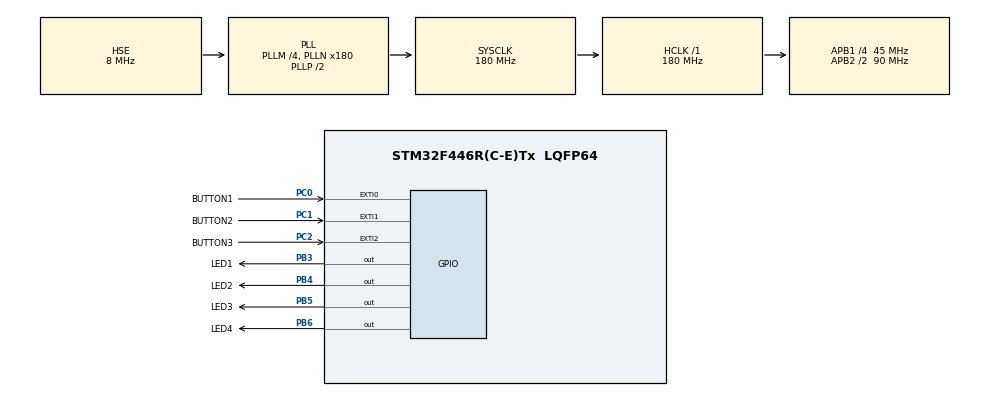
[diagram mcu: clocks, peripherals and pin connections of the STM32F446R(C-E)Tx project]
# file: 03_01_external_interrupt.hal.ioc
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Mcu.Family=STM32F4
RCC.PLLSourceVirtual=RCC_PLLSOURCE_HSE
PH0-OSC_IN.Signal=RCC_OSC_IN
RCC.CortexFreq_Value=180000000
PC2.Signal=GPXTI2
PC0.GPIO_Label=BUTTON1
PB6.GPIO_Label=LED4
PC0.Signal=GPXTI0
RCC.APB1CLKDivider=RCC_HCLK_DIV4
PB3.GPIO_Speed=GPIO_SPEED_FREQ_VERY_HIGH
RCC.SYSCLKSource=RCC_SYSCLKSOURCE_PLLCLK
ProjectManager.StackSize=0x400
PA13.Signal=SYS_JTMS-SWDIO
NVIC.EXTI1_IRQn=true\:0\:0\:false\:false\:true\:true\:true
ProjectManager.TargetToolchain=STM32CubeIDE
RCC.HCLKFreq_Value=180000000
RCC.APB2TimFreq_Value=180000000
PB6.Signal=GPIO_Output
RCC.USBFreq_Value=180000000
RCC.AHBFreq_Value=180000000
PH0-OSC_IN.Mode=HSE-External-Oscillator
RCC.HSE_VALUE=8000000
board=custom
PC1.GPIO_PuPd=GPIO_PULLDOWN
RCC.VCOOutputFreq_Value=360000000
PB4.GPIO_Speed=GPIO_SPEED_FREQ_VERY_HIGH
RCC.APB2Freq_Value=90000000
PB4.GPIO_Label=LED2
PA14.Mode=Serial_Wire
PC1.GPIO_Label=BUTTON2
PH1-OSC_OUT.Signal=RCC_OSC_OUT
PC2.GPIO_PuPd=GPIO_PULLDOWN
PA13.Mode=Serial_Wire
Mcu.Name=STM32F446R(C-E)Tx
PH1-OSC_OUT.Mode=HSE-External-Oscillator
PB3.Signal=GPIO_Output
NVIC.EXTI0_IRQn=true\:0\:0\:false\:false\:true\:true\:true
RCC.SYSCLKFreq_VALUE=180000000
Mcu.Package=LQFP64
PB5.Signal=GPIO_Output
PA14.Signal=SYS_JTCK-SWCLK
ProjectManager.HeapSize=0x200
PB5.GPIO_Speed=GPIO_SPEED_FREQ_VERY_HIGH
NVIC.PriorityGroup=NVIC_PRIORITYGROUP_4
RCC.APB2CLKDivider=RCC_HCLK_DIV2
PB5.GPIO_Label=LED3
NVIC.EXTI2_IRQn=true\:0\:0\:false\:false\:true\:true\:true
RCC.PLLM=4
RCC.PLLN=180
RCC.APB1TimFreq_Value=90000000
PC0.GPIO_PuPd=GPIO_PULLDOWN
PB6.GPIO_Speed=GPIO_SPEED_FREQ_VERY_HIGH
RCC.APB1Freq_Value=45000000
PC2.GPIO_Label=BUTTON3
PC1.Signal=GPXTI1
PB4.Signal=GPIO_Output
PB3.GPIO_Label=LED1

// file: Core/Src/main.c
/* USER CODE BEGIN Header */
/**
  ******************************************************************************
  * @file           : main.c
  * @brief          : Main program body
  ******************************************************************************
  * @attention
  *
  * <h2><center>&copy; Copyright (c) 2021 STMicroelectronics.
  * All rights reserved.</center></h2>
  *
  * This software component is licensed by ST under BSD 3-Clause license,
  * the "License"; You may not use this file except in compliance with the
  * License. You may obtain a copy of the License at:
  *                        opensource.org/licenses/BSD-3-Clause
  *
  ******************************************************************************
  */
/* USER CODE END Header */
#include "main.h"

/* USER CODE BEGIN Includes */
int count=0 , i=0;
/* USER CODE END Includes */

void SystemClock_Config(void);
static void MX_GPIO_Init(void);

/* USER CODE BEGIN 0 */
void HAL_GPIO_EXTI_Callback(uint16_t GPIO_Pin)
{
	i++;
	if(HAL_GPIO_ReadPin(GPIOC, BUTTON1_Pin))
	{
		if(i==1)
		{
			count=1000;
		}
		else if(i==2)
		{
			count=750;
		}
		else if(i==3)
		{
			count=500;
		}
		else
		{
			count=250;
			i=0;
		}
	}
	else if(HAL_GPIO_ReadPin(GPIOC, BUTTON2_Pin))
	{
		count=100;
	}
	else
	{
		count=50;
	}
}
/* USER CODE END 0 */

int main(void)
{

  /* MCU Configuration--------------------------------------------------------*/

  /* Reset of all peripherals, Initializes the Flash interface and the Systick. */
  HAL_Init();

  /* Configure the system clock */
  SystemClock_Config();

  /* Initialize all configured peripherals */
  MX_GPIO_Init();

  /* Infinite loop */
  while (1)
  {

    /* USER CODE BEGIN 3 */
	  HAL_GPIO_TogglePin(GPIOB, GPIO_PIN_All);
	  HAL_Delay(count);
  }
  /* USER CODE END 3 */
}

void SystemClock_Config(void)
{
  RCC_OscInitTypeDef RCC_OscInitStruct = {0};
  RCC_ClkInitTypeDef RCC_ClkInitStruct = {0};

  /** Configure the main internal regulator output voltage
  */
  __HAL_RCC_PWR_CLK_ENABLE();
  __HAL_PWR_VOLTAGESCALING_CONFIG(PWR_REGULATOR_VOLTAGE_SCALE1);
  /** Initializes the RCC Oscillators according to the specified parameters
  * in the RCC_OscInitTypeDef structure.
  */
  RCC_OscInitStruct.OscillatorType = RCC_OSCILLATORTYPE_HSE;
  RCC_OscInitStruct.HSEState = RCC_HSE_ON;
  RCC_OscInitStruct.PLL.PLLState = RCC_PLL_ON;
  RCC_OscInitStruct.PLL.PLLSource = RCC_PLLSOURCE_HSE;
  RCC_OscInitStruct.PLL.PLLM = 4;
  RCC_OscInitStruct.PLL.PLLN = 180;
  RCC_OscInitStruct.PLL.PLLP = RCC_PLLP_DIV2;
  RCC_OscInitStruct.PLL.PLLQ = 2;
  RCC_OscInitStruct.PLL.PLLR = 2;
  if (HAL_RCC_OscConfig(&RCC_OscInitStruct) != HAL_OK)
  {
    Error_Handler();
  }
  /** Activate the Over-Drive mode
  */
  if (HAL_PWREx_EnableOverDrive() != HAL_OK)
  {
    Error_Handler();
  }
  /** Initializes the CPU, AHB and APB buses clocks
  */
  RCC_ClkInitStruct.ClockType = RCC_CLOCKTYPE_HCLK|RCC_CLOCKTYPE_SYSCLK
                              |RCC_CLOCKTYPE_PCLK1|RCC_CLOCKTYPE_PCLK2;
  RCC_ClkInitStruct.SYSCLKSource = RCC_SYSCLKSOURCE_PLLCLK;
  RCC_ClkInitStruct.AHBCLKDivider = RCC_SYSCLK_DIV1;
  RCC_ClkInitStruct.APB1CLKDivider = RCC_HCLK_DIV4;
  RCC_ClkInitStruct.APB2CLKDivider = RCC_HCLK_DIV2;

  if (HAL_RCC_ClockConfig(&RCC_ClkInitStruct, FLASH_LATENCY_5) != HAL_OK)
  {
    Error_Handler();
  }
}

static void MX_GPIO_Init(void)
{
  GPIO_InitTypeDef GPIO_InitStruct = {0};

  /* GPIO Ports Clock Enable */
  __HAL_RCC_GPIOH_CLK_ENABLE();
  __HAL_RCC_GPIOC_CLK_ENABLE();
  __HAL_RCC_GPIOA_CLK_ENABLE();
  __HAL_RCC_GPIOB_CLK_ENABLE();

  /*Configure GPIO pin Output Level */
  HAL_GPIO_WritePin(GPIOB, LED1_Pin|LED2_Pin|LED3_Pin|LED4_Pin, GPIO_PIN_RESET);

  /*Configure GPIO pins : BUTTON1_Pin BUTTON2_Pin BUTTON3_Pin */
  GPIO_InitStruct.Pin = BUTTON1_Pin|BUTTON2_Pin|BUTTON3_Pin;
  GPIO_InitStruct.Mode = GPIO_MODE_IT_RISING;
  GPIO_InitStruct.Pull = GPIO_PULLDOWN;
  HAL_GPIO_Init(GPIOC, &GPIO_InitStruct);

  /*Configure GPIO pins : LED1_Pin LED2_Pin LED3_Pin LED4_Pin */
  GPIO_InitStruct.Pin = LED1_Pin|LED2_Pin|LED3_Pin|LED4_Pin;
  GPIO_InitStruct.Mode = GPIO_MODE_OUTPUT_PP;
  GPIO_InitStruct.Pull = GPIO_NOPULL;
  GPIO_InitStruct.Speed = GPIO_SPEED_FREQ_VERY_HIGH;
  HAL_GPIO_Init(GPIOB, &GPIO_InitStruct);

  /* EXTI interrupt init*/
  HAL_NVIC_SetPriority(EXTI0_IRQn, 0, 0);
  HAL_NVIC_EnableIRQ(EXTI0_IRQn);

  HAL_NVIC_SetPriority(EXTI1_IRQn, 0, 0);
  HAL_NVIC_EnableIRQ(EXTI1_IRQn);

  HAL_NVIC_SetPriority(EXTI2_IRQn, 0, 0);
  HAL_NVIC_EnableIRQ(EXTI2_IRQn);

}

void Error_Handler(void)
{
  __disable_irq();
  while (1)
  {
  }
}

/************************ (C) COPYRIGHT STMicroelectronics *****END OF FILE****/
